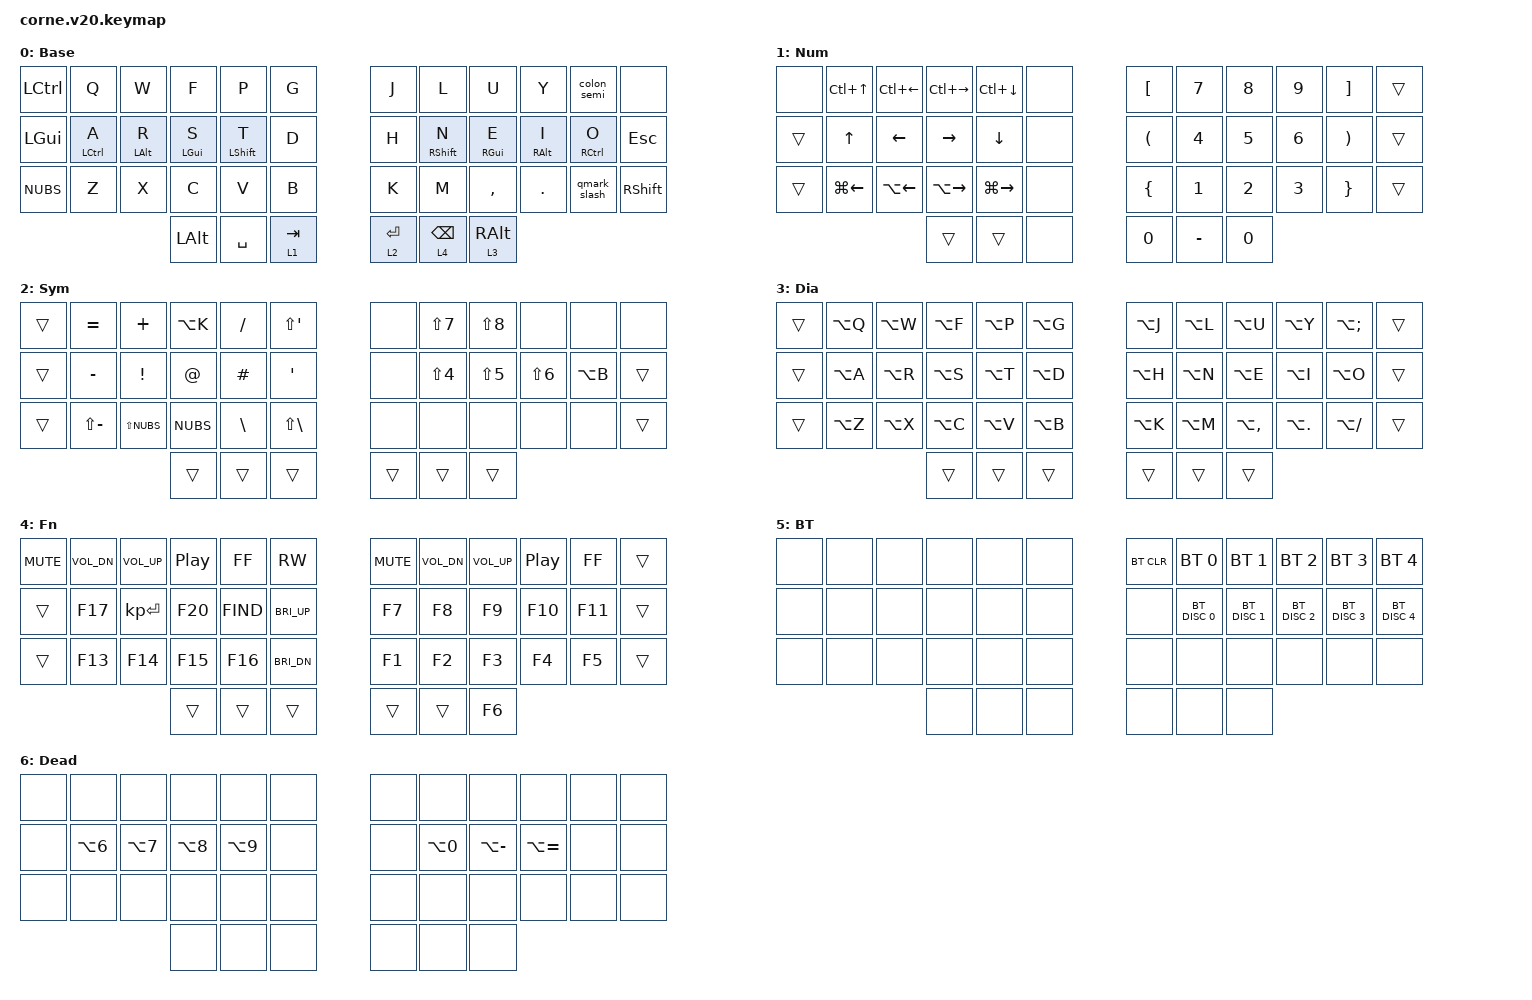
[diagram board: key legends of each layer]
/*
 * Corne Keymap - Based on Vial v20
 * Layout: Colemak
 * Target: Android (Ctrl is primary, GUI is secondary)
 * Homerow mods: CAGS (CTRL-ALT-GUI-SHIFT)
 * Tmux prefix: § (NUBS) instead of F13
 */

#include <behaviors.dtsi>
#include <dt-bindings/zmk/keys.h>
#include <dt-bindings/zmk/bt.h>

/ {
    behaviors {
        hm: homerow_mods {
            compatible = "zmk,behavior-hold-tap";
            #binding-cells = <2>;
            tapping-term-ms = <280>;
            quick-tap-ms = <175>;
            require-prior-idle-ms = <150>;
            flavor = "tap-preferred";
            bindings = <&kp>, <&kp>;
        };

        // ? default, / with shift
        qmark_slash: qmark_slash {
            compatible = "zmk,behavior-mod-morph";
            #binding-cells = <0>;
            bindings = <&kp QMARK>, <&kp FSLH>;
            mods = <(MOD_LSFT|MOD_RSFT)>;
        };

        // : default, ; with shift
        colon_semi: colon_semi {
            compatible = "zmk,behavior-mod-morph";
            #binding-cells = <0>;
            bindings = <&kp COLON>, <&kp SEMI>;
            mods = <(MOD_LSFT|MOD_RSFT)>;
        };
    };

    combos {
        compatible = "zmk,combos";

        // Utility combos from v20
        combo_backspace {
            timeout-ms = <50>;
            key-positions = <1 2>;    // Q + W
            bindings = <&kp BSPC>;
        };
        combo_enter {
            timeout-ms = <50>;
            key-positions = <8 9>;    // U + Y (positions in Colemak)
            bindings = <&kp RET>;
        };
        combo_delete {
            timeout-ms = <50>;
            key-positions = <20 14>;  // E + R (home row)
            bindings = <&kp DEL>;
        };
        combo_caps_lock {
            timeout-ms = <50>;
            key-positions = <5 6>;    // G + J (F + J in v20, but using inner index)
            bindings = <&kp CAPS>;
        };
        combo_bootloader {
            timeout-ms = <50>;
            key-positions = <0 11>;   // Corner keys for safety
            bindings = <&bootloader>;
        };
        combo_caps_word {
            timeout-ms = <50>;
            key-positions = <16 19>;  // T + N (index fingers)
            bindings = <&caps_word>;
        };

        // Brackets - home row adjacent keys
        combo_lbrc {
            timeout-ms = <50>;
            key-positions = <13 14>;  // A + R
            bindings = <&kp LBRC>;
        };
        combo_lbkt {
            timeout-ms = <50>;
            key-positions = <14 15>;  // R + S
            bindings = <&kp LBKT>;
        };
        combo_lpar {
            timeout-ms = <50>;
            key-positions = <15 16>;  // S + T
            bindings = <&kp LPAR>;
        };
        combo_rpar {
            timeout-ms = <50>;
            key-positions = <19 20>;  // N + E
            bindings = <&kp RPAR>;
        };
        combo_rbkt {
            timeout-ms = <50>;
            key-positions = <20 21>;  // E + I
            bindings = <&kp RBKT>;
        };
        combo_rbrc {
            timeout-ms = <50>;
            key-positions = <21 22>;  // I + O
            bindings = <&kp RBRC>;
        };

        // Layer combos
        combo_layer5 {
            timeout-ms = <50>;
            key-positions = <25 26>;  // Z + X
            bindings = <&sl 5>;
        };
        combo_layer6 {
            timeout-ms = <50>;
            key-positions = <27 28>;  // C + V
            bindings = <&sl 6>;
        };
    };

    keymap {
        compatible = "zmk,keymap";

        // Layer 0: Base (Colemak)
        // Homerow mods: A=CTRL, R=ALT, S=GUI, T=SHIFT (mirrored on right) - Android style CAGS
        base_layer {
            display-name = "Base";
            bindings = <
   &kp LCTRL  &kp Q  &kp W  &kp F  &kp P  &kp G      &kp J  &kp L  &kp U      &kp Y    &colon_semi  &none
   &kp LGUI   &hm LCTRL A  &hm LALT R  &hm LGUI S  &hm LSHFT T  &kp D      &kp H  &hm RSHFT N  &hm RGUI E  &hm RALT I  &hm RCTRL O  &kp ESC
   &kp NUBS   &kp Z  &kp X  &kp C  &kp V  &kp B      &kp K  &kp M  &kp COMMA  &kp DOT  &qmark_slash  &kp RSHFT
                     &kp LALT  &kp SPACE  &lt 1 TAB  &lt 2 RET  &lt 4 BSPC  &lt 3 RALT
            >;
        };

        // Layer 1: Numbers + Navigation
        // Navigation uses LG for word-jumping (Cmd on macOS)
        num_layer {
            display-name = "Num";
            bindings = <
   &none   &kp LC(UP)    &kp LC(LEFT) &kp LC(RIGHT) &kp LC(DOWN)  &none       &kp LBKT   &kp N7  &kp N8  &kp N9  &kp RBKT   &trans
   &trans  &kp UP        &kp LEFT     &kp RIGHT     &kp DOWN      &none       &kp LPAR   &kp N4  &kp N5  &kp N6  &kp RPAR   &trans
   &trans  &kp LG(LEFT)  &kp LA(LEFT) &kp LA(RIGHT) &kp LG(RIGHT) &none       &kp LBRC   &kp N1  &kp N2  &kp N3  &kp RBRC   &trans
                                      &trans        &trans        &none       &kp N0     &kp MINUS  &kp N0
            >;
        };

        // Layer 2: Symbols
        sym_layer {
            display-name = "Sym";
            bindings = <
   &trans  &kp EQUAL  &kp PLUS   &kp LA(K)  &kp FSLH      &kp LS(SQT)   &none     &kp LS(N7)  &kp LS(N8)  &none      &none      &none
   &trans  &kp MINUS  &kp EXCL   &kp AT     &kp HASH      &kp SQT       &none     &kp LS(N4)  &kp LS(N5)  &kp LS(N6) &kp LA(B)  &trans
   &trans  &kp LS(MINUS) &kp LS(NUBS) &kp NUBS &kp BSLH  &kp LS(BSLH)  &none     &none       &none       &none      &none      &trans
                                 &trans     &trans        &trans        &trans    &trans      &trans
            >;
        };

        // Layer 3: Diacritics (accessed via right ALT thumb)
        // Sends LALT+key for macOS keylayout
        diacritics_layer {
            display-name = "Dia";
            bindings = <
   &trans  &kp LA(Q)  &kp LA(W)  &kp LA(F)  &kp LA(P)  &kp LA(G)      &kp LA(J)  &kp LA(L)  &kp LA(U)      &kp LA(Y)    &kp LA(SEMI)  &trans
   &trans  &kp LA(A)  &kp LA(R)  &kp LA(S)  &kp LA(T)  &kp LA(D)      &kp LA(H)  &kp LA(N)  &kp LA(E)      &kp LA(I)    &kp LA(O)     &trans
   &trans  &kp LA(Z)  &kp LA(X)  &kp LA(C)  &kp LA(V)  &kp LA(B)      &kp LA(K)  &kp LA(M)  &kp LA(COMMA)  &kp LA(DOT)  &kp LA(FSLH)  &trans
                                 &trans     &trans     &trans         &trans     &trans     &trans
            >;
        };

        // Layer 4: Function Keys + Media
        fn_layer {
            display-name = "Fn";
            bindings = <
   &kp C_MUTE  &kp C_VOL_DN  &kp C_VOL_UP  &kp C_PP    &kp C_FF    &kp C_RW     &kp C_MUTE  &kp C_VOL_DN  &kp C_VOL_UP  &kp C_PP   &kp C_FF   &trans
   &trans      &kp F17       &kp KP_ENTER  &kp F20     &kp K_FIND  &kp C_BRI_UP &kp F7      &kp F8        &kp F9        &kp F10    &kp F11    &trans
   &trans      &kp F13       &kp F14       &kp F15     &kp F16     &kp C_BRI_DN &kp F1      &kp F2        &kp F3        &kp F4     &kp F5     &trans
                                           &trans      &trans      &trans       &trans      &trans        &kp F6
            >;
        };

        // Layer 5: Bluetooth (accessed via Z+X combo)
        // Top row: Select profile | Middle row: Disconnect profile
        bt_layer {
            display-name = "BT";
            bindings = <
   &none   &none  &none  &none  &none  &none      &bt BT_CLR    &bt BT_SEL 0   &bt BT_SEL 1   &bt BT_SEL 2   &bt BT_SEL 3   &bt BT_SEL 4
   &none   &none  &none  &none  &none  &none      &none         &bt BT_DISC 0  &bt BT_DISC 1  &bt BT_DISC 2  &bt BT_DISC 3  &bt BT_DISC 4
   &none   &none  &none  &none  &none  &none      &none         &none          &none          &none          &none          &none
                         &none  &none  &none      &none         &none          &none
            >;
        };

        // Layer 6: Dead Keys (C+V combo)
        deadkey_layer {
            display-name = "Dead";
            bindings = <
   &none   &none         &none         &none        &none        &none         &none        &none         &none         &none         &none         &none
   &none   &kp LA(N6)    &kp LA(N7)    &kp LA(N8)   &kp LA(N9)   &none         &none        &kp LA(N0)    &kp LA(MINUS) &kp LA(EQUAL) &none         &none
   &none   &none         &none         &none        &none        &none         &none        &none         &none         &none         &none         &none
                                       &none        &none        &none         &none        &none         &none
            >;
            // Home row: Macron(6) Circumflex(7) Umlaut(8) Caron(9) | Breve(0) Acute(-) Cedilla(=)
        };

        extra7 { status = "reserved"; };
        extra8 { status = "reserved"; };
        extra9 { status = "reserved"; };
    };
};

// Caps word configuration
&caps_word {
    continue-list = <UNDERSCORE MINUS BACKSPACE DELETE>;
};
